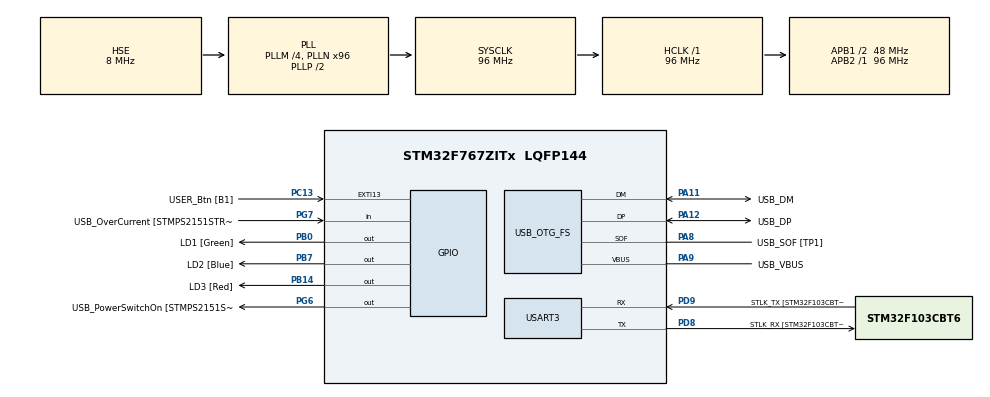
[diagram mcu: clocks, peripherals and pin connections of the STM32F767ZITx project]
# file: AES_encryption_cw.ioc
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Mcu.Family=STM32F7
Mcu.Name=STM32F767ZITx
Mcu.Package=LQFP144
NVIC.PriorityGroup=NVIC_PRIORITYGROUP_4
PA1.GPIO_Label=RMII_REF_CLK [LAN8742A-CZ-TR_REFCLK0]
PA1.Signal=ETH_REF_CLK
PA10.GPIO_Label=USB_ID
PA10.Signal=USB_OTG_FS_ID
PA11.GPIO_Label=USB_DM
PA11.Mode=Device_Only
PA11.Signal=USB_OTG_FS_DM
PA12.GPIO_Label=USB_DP
PA12.Mode=Device_Only
PA12.Signal=USB_OTG_FS_DP
PA13.GPIO_Label=TMS
PA13.Mode=Serial_Wire
PA13.Signal=SYS_JTMS-SWDIO
PA14.GPIO_Label=TCK
PA14.Mode=Serial_Wire
PA14.Signal=SYS_JTCK-SWCLK
PA2.GPIO_Label=RMII_MDIO [LAN8742A-CZ-TR_MDIO]
PA2.Signal=ETH_MDIO
PA7.GPIO_Label=RMII_CRS_DV [LAN8742A-CZ-TR_CRS_DV]
PA7.Signal=ETH_CRS_DV
PA8.GPIO_Label=USB_SOF [TP1]
PA8.Mode=Activate_SOF_FS
PA8.Signal=USB_OTG_FS_SOF
PA9.GPIO_Label=USB_VBUS
PA9.Mode=Activate_VBUS
PA9.Signal=USB_OTG_FS_VBUS
PB0.GPIO_Label=LD1 [Green]
PB0.Signal=GPIO_Output
PB13.GPIO_Label=RMII_TXD1 [LAN8742A-CZ-TR_TXD1]
PB13.Signal=ETH_TXD1
PB14.GPIO_Label=LD3 [Red]
PB14.Signal=GPIO_Output
PB3.GPIO_Label=SWO
PB3.Signal=SYS_JTDO-SWO
PB7.GPIO_Label=LD2 [Blue]
PB7.Signal=GPIO_Output
PC1.GPIO_Label=RMII_MDC [LAN8742A-CZ-TR_MDC]
PC1.Signal=ETH_MDC
PC13.GPIO_Label=USER_Btn [B1]
PC13.Signal=GPXTI13
PC14/OSC32_IN.Mode=LSE-External-Oscillator
PC14/OSC32_IN.Signal=RCC_OSC32_IN
PC15/OSC32_OUT.Mode=LSE-External-Oscillator
PC15/OSC32_OUT.Signal=RCC_OSC32_OUT
PC4.GPIO_Label=RMII_RXD0 [LAN8742A-CZ-TR_RXD0]
PC4.Signal=ETH_RXD0
PC5.GPIO_Label=RMII_RXD1 [LAN8742A-CZ-TR_RXD1]
PC5.Signal=ETH_RXD1
PD8.GPIO_Label=STLK_RX [STM32F103CBT6_PA3]
PD8.Mode=Asynchronous
PD8.Signal=USART3_TX
PD9.GPIO_Label=STLK_TX [STM32F103CBT6_PA2]
PD9.Mode=Asynchronous
PD9.Signal=USART3_RX
PG11.GPIO_Label=RMII_TX_EN [LAN8742A-CZ-TR_TXEN]
PG11.Signal=ETH_TX_EN
PG13.GPIO_Label=RMII_TXD0 [LAN8742A-CZ-TR_TXD0]
PG13.Signal=ETH_TXD0
PG6.GPIO_Label=USB_PowerSwitchOn [STMPS2151STR_EN]
PG6.Signal=GPIO_Output
PG7.GPIO_Label=USB_OverCurrent [STMPS2151STR_FAULT]
PG7.Signal=GPIO_Input
PH0/OSC_IN.GPIO_Label=MCO [STM32F103CBT6_PA8]
PH0/OSC_IN.Mode=HSE-External-Clock-Source
PH0/OSC_IN.Signal=RCC_OSC_IN
PH1/OSC_OUT.Mode=HSE-External-Clock-Source
PH1/OSC_OUT.Signal=RCC_OSC_OUT
ProjectManager.HeapSize=0x200
ProjectManager.StackSize=0x400
ProjectManager.TargetToolchain=STM32CubeIDE
RCC.48MHZClocksFreq_Value=24000000
RCC.AHBFreq_Value=96000000
RCC.APB1CLKDivider=RCC_HCLK_DIV2
RCC.APB1Freq_Value=48000000
RCC.APB1TimFreq_Value=96000000
RCC.APB2Freq_Value=96000000
RCC.APB2TimFreq_Value=96000000
RCC.CortexFreq_Value=96000000
RCC.HCLKFreq_Value=96000000
RCC.HSE_VALUE=8000000
RCC.HSI_VALUE=16000000
RCC.PLLM=4
RCC.PLLMUL=RCC_PLL_MUL9
RCC.PLLN=96
RCC.PLLQ=4
RCC.PRESCALERUSB=RCC_USBCLKSOURCE_PLL_DIV1_5
RCC.SYSCLKFreq_VALUE=96000000
RCC.SYSCLKSource=RCC_SYSCLKSOURCE_PLLCLK
RCC.SYSCLKSourceVirtual=RCC_SYSCLKSOURCE_PLLCLK
RCC.USBFreq_Value=48000000
RCC.VCOOutputFreq_Value=192000000
TIM11.Prescaler=96-1
USART3.VirtualMode-Asynchronous=VM_ASYNC
USB_OTG_FS.VirtualMode=Device_Only
VP_TIM11_VS_ClockSourceINT.Mode=Enable_Timer
board=NUCLEO-F767ZI

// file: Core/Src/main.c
/* USER CODE BEGIN Header */
/**
  ******************************************************************************
  * @file           : main.c
  * @brief          : Main program body
  ******************************************************************************
  * @attention
  *
  * Copyright (c) 2024 STMicroelectronics.
  * All rights reserved.
  *
  * This software is licensed under terms that can be found in the LICENSE file
  * in the root directory of this software component.
  * If no LICENSE file comes with this software, it is provided AS-IS.
  *
  ******************************************************************************
  */
/* USER CODE END Header */
#include "main.h"

/* USER CODE BEGIN Includes */
#include "AES.h"
#include <stdio.h>
#include <stdint.h>
/* USER CODE END Includes */

/* USER CODE BEGIN PD */
#define ENCRYPT_AES(a,b,c,d) crypt_aes(a,b,c,d,1)
#define DECRYPT_AES(a,b,c,d) crypt_aes(a,b,c,d,0)
/* USER CODE END PD */

TIM_HandleTypeDef htim11;

UART_HandleTypeDef huart3;

PCD_HandleTypeDef hpcd_USB_OTG_FS;

void SystemClock_Config(void);
static void MX_GPIO_Init(void);
static void MX_USART3_UART_Init(void);
static void MX_USB_OTG_FS_PCD_Init(void);
static void MX_TIM11_Init(void);
/* USER CODE BEGIN PFP */
#ifdef __GNUC__
/* With GCC/RAISONANCE, small printf (option LD Linker->Libraries->Small printf
set to 'Yes') calls __io_putchar() */
#define PUTCHAR_PROTOTYPE int __io_putchar(int ch)
#else
#define PUTCHAR_PROTOTYPE int fputc(int ch, FILE *f)
#endif /* __GNUC__ */
/**
* @brief Retargets the C library printf function to the USART.
* @param None
* @retval None
*/
PUTCHAR_PROTOTYPE
{
	/* Place your implementation of fputc here */
	/* e.g. write a character to the USART1 and Loop until the end of transmission */
	HAL_UART_Transmit(&huart3, (uint8_t*)&ch, 1, 0xFFFF);
	return ch;
}
/* USER CODE END PFP */

int main(void)
{
  /* USER CODE BEGIN 1 */
	// Define 256-bit cryptographic key
	  uint32_t key[8] = {0xDEADBEEF, 0x01234567, 0x89ABCDEF, 0xDEADBEEF,
			  	  	  	  0xDEADBEEF, 0x01234567, 0x89ABCDEF, 0xDEADBEEF};

	  // Define hex representation of message to be encrypted
	  uint32_t msg[4] = {0xBEEFFEED, 0xBEEFDEAD, 0xFEEDBEEF, 0xDEADBEEF};
	  uint32_t mlen = sizeof(msg)/sizeof(uint32_t); // length of message

	  // Declare arrays to hold the encrypted and decrypted texts
	  // Size of ct array must be >= mlen
	  uint32_t ct[4];
	  uint32_t dt[4];

	  // timer var
	  uint16_t time_val;
  /* USER CODE END 1 */

  /* MCU Configuration--------------------------------------------------------*/

  /* Reset of all peripherals, Initializes the Flash interface and the Systick. */
  HAL_Init();

  /* Configure the system clock */
  SystemClock_Config();

  /* Initialize all configured peripherals */
  MX_GPIO_Init();
  MX_USART3_UART_Init();
  MX_USB_OTG_FS_PCD_Init();
  MX_TIM11_Init();
  /* USER CODE BEGIN 2 */

  //give 2 new line
  printf("\r\n\n");

  HAL_TIM_Base_Start(&htim11);
  // run 100 times
  int n = 100;
  for (int i = 0; i < n; i++) {
  // Call AES function (via macro)
  time_val = __HAL_TIM_GET_COUNTER(&htim11);
  ENCRYPT_AES(msg, ct, mlen, key);
  DECRYPT_AES(ct, dt, mlen, key);

  // Print to PuTTY
  printf("Plaintext: { ");
  for (int i=0;i<mlen;i++)
	  printf("%04x ",msg[i]);
  printf("}\r\n");
//
//  printf("Ciphertext: { ");
//  for (int i=0;i<mlen;i++)
//	  printf("%04x ",ct[i]);
//  printf("}\r\n");
//
  printf("Deciphered text: { ");
  for (int i=0;i<mlen;i++)
	  printf("%04x ",dt[i]);
  printf("}\r\n");
  time_val = __HAL_TIM_GET_COUNTER(&htim11) - time_val;
  printf("%u us\r\n", time_val);
  }
  /* USER CODE END 2 */

  /* Infinite loop */
  while (1)
  {

  }
}

void SystemClock_Config(void)
{
  RCC_OscInitTypeDef RCC_OscInitStruct = {0};
  RCC_ClkInitTypeDef RCC_ClkInitStruct = {0};

  /** Configure LSE Drive Capability
  */
  HAL_PWR_EnableBkUpAccess();

  /** Configure the main internal regulator output voltage
  */
  __HAL_RCC_PWR_CLK_ENABLE();
  __HAL_PWR_VOLTAGESCALING_CONFIG(PWR_REGULATOR_VOLTAGE_SCALE3);

  /** Initializes the RCC Oscillators according to the specified parameters
  * in the RCC_OscInitTypeDef structure.
  */
  RCC_OscInitStruct.OscillatorType = RCC_OSCILLATORTYPE_HSE;
  RCC_OscInitStruct.HSEState = RCC_HSE_BYPASS;
  RCC_OscInitStruct.PLL.PLLState = RCC_PLL_ON;
  RCC_OscInitStruct.PLL.PLLSource = RCC_PLLSOURCE_HSE;
  RCC_OscInitStruct.PLL.PLLM = 4;
  RCC_OscInitStruct.PLL.PLLN = 96;
  RCC_OscInitStruct.PLL.PLLP = RCC_PLLP_DIV2;
  RCC_OscInitStruct.PLL.PLLQ = 4;
  RCC_OscInitStruct.PLL.PLLR = 2;
  if (HAL_RCC_OscConfig(&RCC_OscInitStruct) != HAL_OK)
  {
    Error_Handler();
  }

  /** Activate the Over-Drive mode
  */
  if (HAL_PWREx_EnableOverDrive() != HAL_OK)
  {
    Error_Handler();
  }

  /** Initializes the CPU, AHB and APB buses clocks
  */
  RCC_ClkInitStruct.ClockType = RCC_CLOCKTYPE_HCLK|RCC_CLOCKTYPE_SYSCLK
                              |RCC_CLOCKTYPE_PCLK1|RCC_CLOCKTYPE_PCLK2;
  RCC_ClkInitStruct.SYSCLKSource = RCC_SYSCLKSOURCE_PLLCLK;
  RCC_ClkInitStruct.AHBCLKDivider = RCC_SYSCLK_DIV1;
  RCC_ClkInitStruct.APB1CLKDivider = RCC_HCLK_DIV2;
  RCC_ClkInitStruct.APB2CLKDivider = RCC_HCLK_DIV1;

  if (HAL_RCC_ClockConfig(&RCC_ClkInitStruct, FLASH_LATENCY_3) != HAL_OK)
  {
    Error_Handler();
  }
}

static void MX_TIM11_Init(void)
{

  htim11.Instance = TIM11;
  htim11.Init.Prescaler = 96-1;
  htim11.Init.CounterMode = TIM_COUNTERMODE_UP;
  htim11.Init.Period = 65535;
  htim11.Init.ClockDivision = TIM_CLOCKDIVISION_DIV1;
  htim11.Init.AutoReloadPreload = TIM_AUTORELOAD_PRELOAD_DISABLE;
  if (HAL_TIM_Base_Init(&htim11) != HAL_OK)
  {
    Error_Handler();
  }

}

static void MX_USART3_UART_Init(void)
{

  huart3.Instance = USART3;
  huart3.Init.BaudRate = 115200;
  huart3.Init.WordLength = UART_WORDLENGTH_8B;
  huart3.Init.StopBits = UART_STOPBITS_1;
  huart3.Init.Parity = UART_PARITY_NONE;
  huart3.Init.Mode = UART_MODE_TX_RX;
  huart3.Init.HwFlowCtl = UART_HWCONTROL_NONE;
  huart3.Init.OverSampling = UART_OVERSAMPLING_16;
  huart3.Init.OneBitSampling = UART_ONE_BIT_SAMPLE_DISABLE;
  huart3.AdvancedInit.AdvFeatureInit = UART_ADVFEATURE_NO_INIT;
  if (HAL_UART_Init(&huart3) != HAL_OK)
  {
    Error_Handler();
  }

}

static void MX_USB_OTG_FS_PCD_Init(void)
{

  hpcd_USB_OTG_FS.Instance = USB_OTG_FS;
  hpcd_USB_OTG_FS.Init.dev_endpoints = 6;
  hpcd_USB_OTG_FS.Init.speed = PCD_SPEED_FULL;
  hpcd_USB_OTG_FS.Init.dma_enable = DISABLE;
  hpcd_USB_OTG_FS.Init.phy_itface = PCD_PHY_EMBEDDED;
  hpcd_USB_OTG_FS.Init.Sof_enable = ENABLE;
  hpcd_USB_OTG_FS.Init.low_power_enable = DISABLE;
  hpcd_USB_OTG_FS.Init.lpm_enable = DISABLE;
  hpcd_USB_OTG_FS.Init.vbus_sensing_enable = ENABLE;
  hpcd_USB_OTG_FS.Init.use_dedicated_ep1 = DISABLE;
  if (HAL_PCD_Init(&hpcd_USB_OTG_FS) != HAL_OK)
  {
    Error_Handler();
  }

}

static void MX_GPIO_Init(void)
{
  GPIO_InitTypeDef GPIO_InitStruct = {0};

  /* GPIO Ports Clock Enable */
  __HAL_RCC_GPIOC_CLK_ENABLE();
  __HAL_RCC_GPIOH_CLK_ENABLE();
  __HAL_RCC_GPIOA_CLK_ENABLE();
  __HAL_RCC_GPIOB_CLK_ENABLE();
  __HAL_RCC_GPIOD_CLK_ENABLE();
  __HAL_RCC_GPIOG_CLK_ENABLE();

  /*Configure GPIO pin Output Level */
  HAL_GPIO_WritePin(GPIOB, LD1_Pin|LD3_Pin|LD2_Pin, GPIO_PIN_RESET);

  /*Configure GPIO pin Output Level */
  HAL_GPIO_WritePin(USB_PowerSwitchOn_GPIO_Port, USB_PowerSwitchOn_Pin, GPIO_PIN_RESET);

  /*Configure GPIO pin : USER_Btn_Pin */
  GPIO_InitStruct.Pin = USER_Btn_Pin;
  GPIO_InitStruct.Mode = GPIO_MODE_IT_RISING;
  GPIO_InitStruct.Pull = GPIO_NOPULL;
  HAL_GPIO_Init(USER_Btn_GPIO_Port, &GPIO_InitStruct);

  /*Configure GPIO pins : RMII_MDC_Pin RMII_RXD0_Pin RMII_RXD1_Pin */
  GPIO_InitStruct.Pin = RMII_MDC_Pin|RMII_RXD0_Pin|RMII_RXD1_Pin;
  GPIO_InitStruct.Mode = GPIO_MODE_AF_PP;
  GPIO_InitStruct.Pull = GPIO_NOPULL;
  GPIO_InitStruct.Speed = GPIO_SPEED_FREQ_VERY_HIGH;
  GPIO_InitStruct.Alternate = GPIO_AF11_ETH;
  HAL_GPIO_Init(GPIOC, &GPIO_InitStruct);

  /*Configure GPIO pins : RMII_REF_CLK_Pin RMII_MDIO_Pin RMII_CRS_DV_Pin */
  GPIO_InitStruct.Pin = RMII_REF_CLK_Pin|RMII_MDIO_Pin|RMII_CRS_DV_Pin;
  GPIO_InitStruct.Mode = GPIO_MODE_AF_PP;
  GPIO_InitStruct.Pull = GPIO_NOPULL;
  GPIO_InitStruct.Speed = GPIO_SPEED_FREQ_VERY_HIGH;
  GPIO_InitStruct.Alternate = GPIO_AF11_ETH;
  HAL_GPIO_Init(GPIOA, &GPIO_InitStruct);

  /*Configure GPIO pins : LD1_Pin LD3_Pin LD2_Pin */
  GPIO_InitStruct.Pin = LD1_Pin|LD3_Pin|LD2_Pin;
  GPIO_InitStruct.Mode = GPIO_MODE_OUTPUT_PP;
  GPIO_InitStruct.Pull = GPIO_NOPULL;
  GPIO_InitStruct.Speed = GPIO_SPEED_FREQ_LOW;
  HAL_GPIO_Init(GPIOB, &GPIO_InitStruct);

  /*Configure GPIO pin : RMII_TXD1_Pin */
  GPIO_InitStruct.Pin = RMII_TXD1_Pin;
  GPIO_InitStruct.Mode = GPIO_MODE_AF_PP;
  GPIO_InitStruct.Pull = GPIO_NOPULL;
  GPIO_InitStruct.Speed = GPIO_SPEED_FREQ_VERY_HIGH;
  GPIO_InitStruct.Alternate = GPIO_AF11_ETH;
  HAL_GPIO_Init(RMII_TXD1_GPIO_Port, &GPIO_InitStruct);

  /*Configure GPIO pin : USB_PowerSwitchOn_Pin */
  GPIO_InitStruct.Pin = USB_PowerSwitchOn_Pin;
  GPIO_InitStruct.Mode = GPIO_MODE_OUTPUT_PP;
  GPIO_InitStruct.Pull = GPIO_NOPULL;
  GPIO_InitStruct.Speed = GPIO_SPEED_FREQ_LOW;
  HAL_GPIO_Init(USB_PowerSwitchOn_GPIO_Port, &GPIO_InitStruct);

  /*Configure GPIO pin : USB_OverCurrent_Pin */
  GPIO_InitStruct.Pin = USB_OverCurrent_Pin;
  GPIO_InitStruct.Mode = GPIO_MODE_INPUT;
  GPIO_InitStruct.Pull = GPIO_NOPULL;
  HAL_GPIO_Init(USB_OverCurrent_GPIO_Port, &GPIO_InitStruct);

  /*Configure GPIO pins : RMII_TX_EN_Pin RMII_TXD0_Pin */
  GPIO_InitStruct.Pin = RMII_TX_EN_Pin|RMII_TXD0_Pin;
  GPIO_InitStruct.Mode = GPIO_MODE_AF_PP;
  GPIO_InitStruct.Pull = GPIO_NOPULL;
  GPIO_InitStruct.Speed = GPIO_SPEED_FREQ_VERY_HIGH;
  GPIO_InitStruct.Alternate = GPIO_AF11_ETH;
  HAL_GPIO_Init(GPIOG, &GPIO_InitStruct);

}

void Error_Handler(void)
{
  __disable_irq();
  while (1)
  {
  }
}
